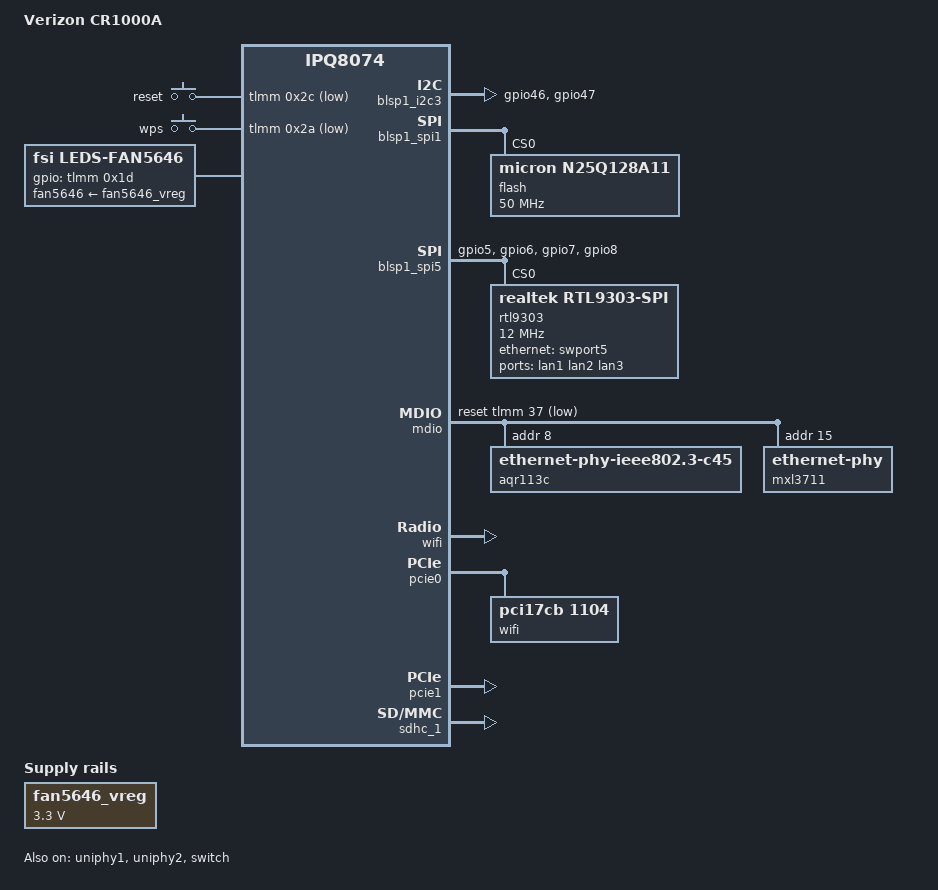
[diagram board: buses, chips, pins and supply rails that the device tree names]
// SPDX-License-Identifier: GPL-2.0-or-later OR MIT

/dts-v1/;

#include "ipq8074.dtsi"
#include "ipq8074-ess.dtsi"
#include "ipq8074-nss.dtsi"
#include "ipq8074-common.dtsi"
#include "ipq8074-hk-cpu.dtsi"

#include <dt-bindings/gpio/gpio.h>
#include <dt-bindings/input/input.h>
#include <dt-bindings/leds/common.h>

/ {
	model = "Verizon CR1000A";
	compatible = "verizon,cr1000a", "qcom,ipq8074";

	aliases {
		ethernet4 = &swport5;
		ethernet5 = &swport6;

		label-mac-device = &swport5;
		serial0 = &blsp1_uart5;
	};

	chosen {
		stdout-path = "serial0:115200n8";
	};

	keys {
		compatible = "gpio-keys";

		reset {
			debounce-interval = <0x3c>;
			gpios = <&tlmm 0x2c GPIO_ACTIVE_LOW>;
			label = "reset";
			linux,code = <KEY_RESTART>;
		};

		wps {
			debounce-interval = <0x3c>;
			gpios = <&tlmm 0x2a GPIO_ACTIVE_LOW>;
			label = "wps";
			linux,code = <KEY_WPS_BUTTON>;
		};
	};
};

&soc {
	fan5646_vreg: fan5646-vreg {
		compatible = "regulator-fixed";
		regulator-name = "fan5646_vreg";
		regulator-min-microvolt = <3300000>;
		regulator-max-microvolt = <3300000>;
	};

	fan5646 {
		status = "okay";
		compatible = "fsi,leds-fan5646";
		linux-name = "white";
		rgb-name = "rgb";
		gpios = <&tlmm 0x1d 0x2>; /* COMM GPIO, GPIOF_DIR_OUT | GPIOF_INIT_HIGH */
		full-current = <0>; /* Default current 5 mA */
		tsleep = <7>;
		fan5646-supply = <&fan5646_vreg>; /* phandle of our regulator node */
	};
};

&blsp1_i2c3 {
	status = "okay";
	pinctrl-0 = <&i2c_2_pins>;
	pinctrl-names = "default";
};

&blsp1_spi1 {
	status = "okay";

	flash@0 {
		compatible = "micron,n25q128a11", "jedec,spi-nor";
		linux,modalias = "m25p80", "mx30uf2g18ac", "n25q128a11";
		spi-max-frequency = <50000000>;
		reg = <0>;
	};
};

&blsp1_spi5 {
	status = "okay";

	pinctrl-0 = <&spi_4_pins>;
	pinctrl-names = "default";

	rtl9303: switch@0 {
		compatible = "realtek,rtl9303-spi";
		reg = <0>;
		spi-max-frequency = <12000000>;
		dsa,member = <1 0>;

		mdio-controller {
			compatible = "realtek,rtl9303-spi-mdio";
			#address-cells = <1>;
			#size-cells = <0>;

			mdio-bus@0 {
				reg = <0>;
				#address-cells = <1>;
				#size-cells = <0>;

				lan2_phy: ethernet-phy@7 {
					reg = <7>;
				};
			};

			mdio-bus@1 {
				reg = <1>;
				#address-cells = <1>;
				#size-cells = <0>;

				lan3_phy: ethernet-phy@3 {
					reg = <3>;
				};
			};

			mdio-bus@2 {
				reg = <2>;
				#address-cells = <1>;
				#size-cells = <0>;

				lan1_phy: ethernet-phy@0 {
					compatible = "ethernet-phy-ieee802.3-c45";
					reg = <0>;
				};
			};
		};

		rtl9303_serdes_mdio: mdio-serdes {
			compatible = "realtek,rtl9303-spi-serdes";
		};

		pcs {
			compatible = "realtek,rtl9303-spi-pcs";
			#address-cells = <1>;
			#size-cells = <0>;
			mdio-parent-bus = <&rtl9303_serdes_mdio>;

			rtl9303_sds3: serdes@3 {
				reg = <3>;
				#pcs-cells = <1>;
			};

			rtl9303_sds5: serdes@5 {
				reg = <5>;
				#pcs-cells = <1>;
			};

			rtl9303_sds6: serdes@6 {
				reg = <6>;
				#pcs-cells = <1>;
			};

			rtl9303_sds9: serdes@9 {
				reg = <9>;
				#pcs-cells = <1>;
			};
		};

		ethernet-ports {
			#address-cells = <1>;
			#size-cells = <0>;

			port@8 {
				reg = <8>;
				label = "lan1";
				phy-mode = "usxgmii";
				managed = "in-band-status";
				phy-handle = <&lan1_phy>;
				pcs-handle = <&rtl9303_sds3 0>;
			};

			port@14 {
				reg = <20>;
				label = "lan2";
				phy-mode = "2500base-x";
				phy-handle = <&lan2_phy>;
				pcs-handle = <&rtl9303_sds5 0>;
			};

			port@18 {
				reg = <24>;
				label = "lan3";
				phy-mode = "2500base-x";
				phy-handle = <&lan3_phy>;
				pcs-handle = <&rtl9303_sds6 0>;
			};

			port@1b {
				reg = <27>;
				ethernet = <&swport5>;
				phy-mode = "10gbase-r";
				pcs-handle = <&rtl9303_sds9 0>;

				fixed-link {
					speed = <10000>;
					full-duplex;
				};
			};
		};
	};
};

&tlmm {
	i2c_2_pins: i2c-2-pins {
		pins = "gpio46", "gpio47";
		function = "blsp2_i2c";
		drive-strength = <8>;
		bias-disable;
	};

	spi_4_pins: spi-4-pins {
		pins = "gpio5", "gpio6", "gpio7", "gpio8";
		function = "blsp4_spi0";
		drive-strength = <8>;
		bias-disable;
	};
};

&mdio {
	status = "okay";

	pinctrl-0 = <&mdio_pins>;
	pinctrl-names = "default";
	reset-gpios = <&tlmm 37 GPIO_ACTIVE_LOW>;

	aqr113c: ethernet-phy@8 {
		compatible = "ethernet-phy-ieee802.3-c45";
		reg = <0x08>;
		// reset-gpios = <&tlmm 63 GPIO_ACTIVE_LOW>;
	};

	mxl3711: ethernet-phy@f {
		//compatible = "ethernet-phy-ieee802.3-c45";
		reg = <0x0f>;
		// reset-gpios = <&tlmm 63 GPIO_ACTIVE_LOW>;
	};
};

&uniphy1 {
	status = "okay";
};

&uniphy2 {
	status = "okay";
};

&switch {
	status = "okay";

	ports {
		#address-cells = <1>;
		#size-cells = <0>;

		port@0 {
			reg = <0>;
			ethernet = <&edma>;
			phy-mode = "internal";

			fixed-link {
				speed = <1000>;
				full-duplex;
			};
		};

		swport5: port@5 {
			reg = <5>;
			label = "lan-cpu";
			phy-mode = "10gbase-r";
			pcs-handle = <&uniphy1 0>;

			fixed-link {
				speed = <10000>;
				full-duplex;
			};
		};

		swport6: port@6 {
			reg = <6>;
			label = "wan";
			phy-handle = <&aqr113c>;
			phy-mode = "usxgmii";
			managed = "in-band-status";
			pcs-handle = <&uniphy2 0>;
		};
	};
};

&wifi {
	status = "okay";
	qcom,ath11k-fw-memory-mode = <1>;
	qcom,ath11k-calibration-variant = "Verizon-CR1000A";
};

&pcie0 {
	status = "okay";
	perst-gpios = <&tlmm 58 GPIO_ACTIVE_LOW>;

	pcie@0 {
		wifi@0,0 {
			status = "okay";
			compatible = "pci17cb,1104";
			qcom,ath11k-fw-memory-mode = <1>;
			qcom,ath11k-calibration-variant = "Verizon-CR1000A";
			reg = <0x00010000 0 0 0 0>;
		};
	};
};

&edma {
	status = "okay";
};

&pcie1 {
	status = "okay";
};

&sdhc_1 {
	status = "okay";
	vqmmc-supply = <&l11>;
};
